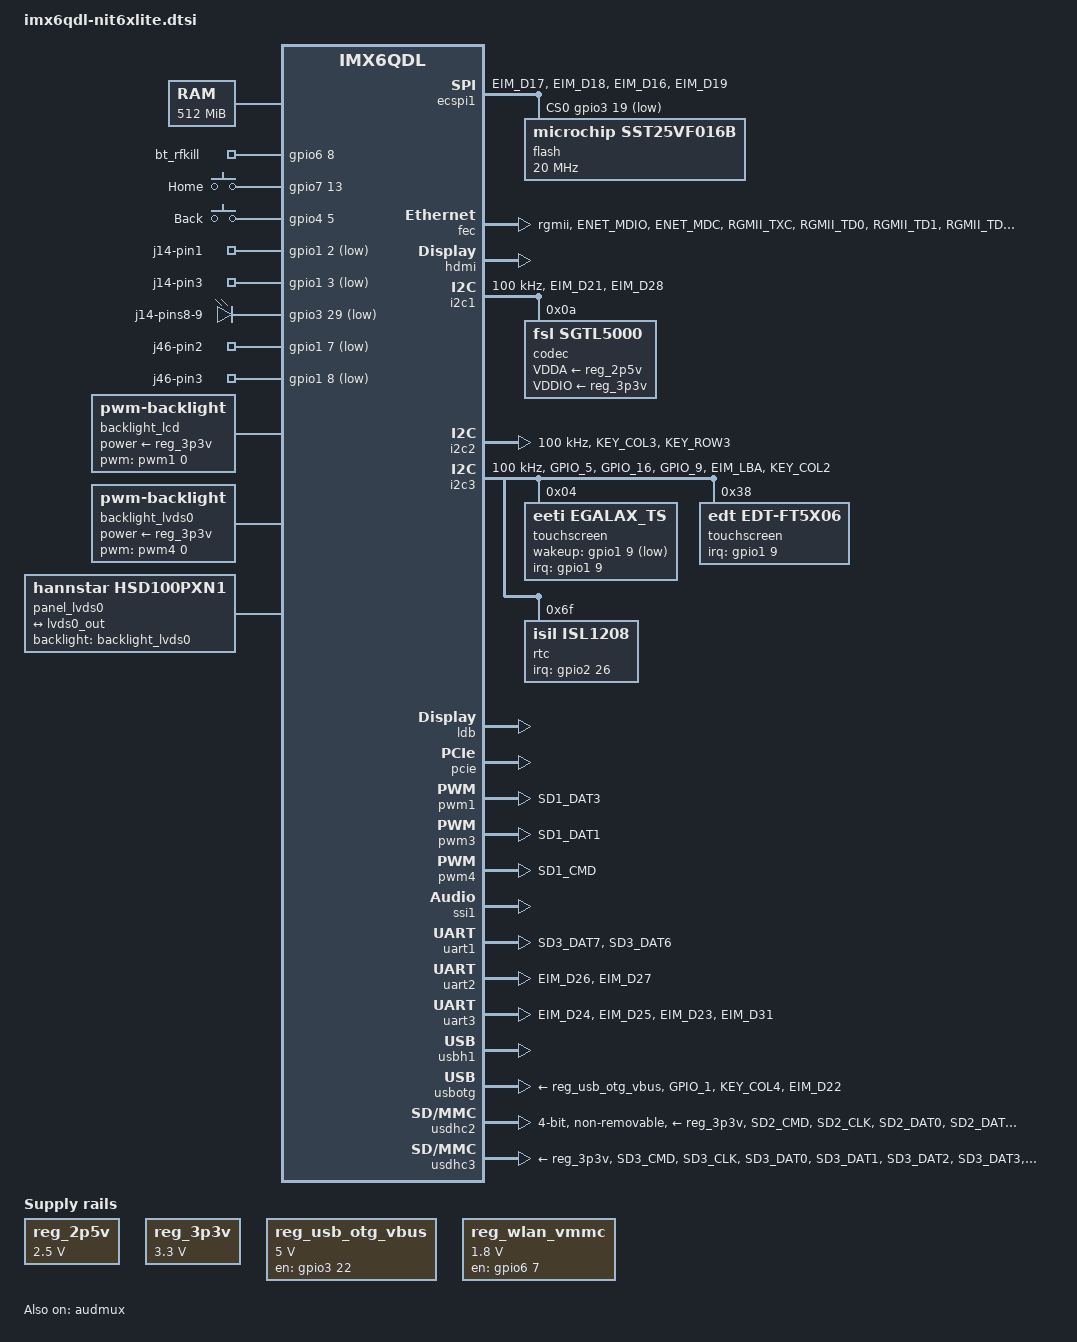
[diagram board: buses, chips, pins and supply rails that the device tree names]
/*
 * Copyright 2015 Boundary Devices, Inc.
 *
 * This file is dual-licensed: you can use it either under the terms
 * of the GPL or the X11 license, at your option. Note that this dual
 * licensing only applies to this file, and not this project as a
 * whole.
 *
 *  a) This file is free software; you can redistribute it and/or
 *     modify it under the terms of the GNU General Public License
 *     version 2 as published by the Free Software Foundation.
 *
 *     This file is distributed in the hope that it will be useful
 *     but WITHOUT ANY WARRANTY; without even the implied warranty of
 *     MERCHANTABILITY or FITNESS FOR A PARTICULAR PURPOSE.  See the
 *     GNU General Public License for more details.
 *
 * Or, alternatively
 *
 *  b) Permission is hereby granted, free of charge, to any person
 *     obtaining a copy of this software and associated documentation
 *     files (the "Software"), to deal in the Software without
 *     restriction, including without limitation the rights to use
 *     copy, modify, merge, publish, distribute, sublicense, and/or
 *     sell copies of the Software, and to permit persons to whom the
 *     Software is furnished to do so, subject to the following
 *     conditions:
 *
 *     The above copyright notice and this permission notice shall be
 *     included in all copies or substantial portions of the Software.
 *
 *     THE SOFTWARE IS PROVIDED , WITHOUT WARRANTY OF ANY KIND
 *     EXPRESS OR IMPLIED, INCLUDING BUT NOT LIMITED TO THE WARRANTIES
 *     OF MERCHANTABILITY, FITNESS FOR A PARTICULAR PURPOSE AND
 *     NONINFRINGEMENT. IN NO EVENT SHALL THE AUTHORS OR COPYRIGHT
 *     HOLDERS BE LIABLE FOR ANY CLAIM, DAMAGES OR OTHER LIABILITY
 *     WHETHER IN AN ACTION OF CONTRACT, TORT OR OTHERWISE, ARISING
 *     FROM, OUT OF OR IN CONNECTION WITH THE SOFTWARE OR THE USE OR
 *     OTHER DEALINGS IN THE SOFTWARE.
 */
#include <dt-bindings/gpio/gpio.h>
#include <dt-bindings/input/input.h>

/ {
	chosen {
		stdout-path = &uart2;
	};

	memory {
		reg = <0x10000000 0x20000000>;
	};

	regulators {
		compatible = "simple-bus";
		#address-cells = <1>;
		#size-cells = <0>;

		reg_2p5v: regulator@0 {
			compatible = "regulator-fixed";
			reg = <0>;
			regulator-name = "2P5V";
			regulator-min-microvolt = <2500000>;
			regulator-max-microvolt = <2500000>;
			regulator-always-on;
		};

		reg_3p3v: regulator@1 {
			compatible = "regulator-fixed";
			reg = <1>;
			regulator-name = "3P3V";
			regulator-min-microvolt = <3300000>;
			regulator-max-microvolt = <3300000>;
			regulator-always-on;
		};

		reg_usb_otg_vbus: regulator@2 {
			compatible = "regulator-fixed";
			reg = <2>;
			regulator-name = "usb_otg_vbus";
			regulator-min-microvolt = <5000000>;
			regulator-max-microvolt = <5000000>;
			gpio = <&gpio3 22 GPIO_ACTIVE_HIGH>;
			enable-active-high;
		};

		reg_wlan_vmmc: regulator@3 {
			compatible = "regulator-fixed";
			reg = <3>;
			pinctrl-names = "default";
			pinctrl-0 = <&pinctrl_wlan_vmmc>;
			regulator-name = "reg_wlan_vmmc";
			regulator-min-microvolt = <1800000>;
			regulator-max-microvolt = <1800000>;
			gpio = <&gpio6 7 GPIO_ACTIVE_HIGH>;
			startup-delay-us = <70000>;
			enable-active-high;
		};
	};

	bt_rfkill {
		compatible = "rfkill-gpio";
		pinctrl-names = "default";
		pinctrl-0 = <&pinctrl_bt_rfkill>;
		gpios = <&gpio6 8 GPIO_ACTIVE_HIGH>;
		name = "bt_rfkill";
		type = <2>;
	};

	gpio-keys {
		compatible = "gpio-keys";
		pinctrl-names = "default";
		pinctrl-0 = <&pinctrl_gpio_keys>;

		home {
			label = "Home";
			gpios = <&gpio7 13 IRQ_TYPE_LEVEL_LOW>;
			linux,code = <102>;
		};

		back {
			label = "Back";
			gpios = <&gpio4 5 IRQ_TYPE_LEVEL_LOW>;
			linux,code = <158>;
		};
	};

	leds {
		compatible = "gpio-leds";
		pinctrl-names = "default";
		pinctrl-0 = <&pinctrl_leds>;

		j14-pin1 {
			gpios = <&gpio1 2 GPIO_ACTIVE_LOW>;
			retain-state-suspended;
			default-state = "off";
		};

		j14-pin3 {
			gpios = <&gpio1 3 GPIO_ACTIVE_LOW>;
			retain-state-suspended;
			default-state = "off";
		};

		j14-pins8-9 {
			gpios = <&gpio3 29 GPIO_ACTIVE_LOW>;
			retain-state-suspended;
			default-state = "off";
		};

		j46-pin2 {
			gpios = <&gpio1 7 GPIO_ACTIVE_LOW>;
			retain-state-suspended;
			default-state = "off";
		};

		j46-pin3 {
			gpios = <&gpio1 8 GPIO_ACTIVE_LOW>;
			retain-state-suspended;
			default-state = "off";
		};
	};

	backlight_lcd {
		compatible = "pwm-backlight";
		pwms = <&pwm1 0 5000000>;
		brightness-levels = <0 4 8 16 32 64 128 255>;
		default-brightness-level = <7>;
		power-supply = <&reg_3p3v>;
		status = "okay";
	};

	backlight_lvds0: backlight_lvds0 {
		compatible = "pwm-backlight";
		pwms = <&pwm4 0 5000000>;
		brightness-levels = <0 4 8 16 32 64 128 255>;
		default-brightness-level = <7>;
		power-supply = <&reg_3p3v>;
		status = "okay";
	};

	panel_lvds0 {
		compatible = "hannstar,hsd100pxn1";
		backlight = <&backlight_lvds0>;

		port {
			panel_in_lvds0: endpoint {
				remote-endpoint = <&lvds0_out>;
			};
		};
	};

	sound {
		compatible = "fsl,imx6dl-nit6xlite-sgtl5000",
			     "fsl,imx-audio-sgtl5000";
		model = "imx6dl-nit6xlite-sgtl5000";
		ssi-controller = <&ssi1>;
		audio-codec = <&codec>;
		audio-routing =
			"MIC_IN", "Mic Jack",
			"Mic Jack", "Mic Bias",
			"Headphone Jack", "HP_OUT";
		mux-int-port = <1>;
		mux-ext-port = <3>;
	};
};

&audmux {
	pinctrl-names = "default";
	pinctrl-0 = <&pinctrl_audmux>;
	status = "okay";
};

&clks {
	assigned-clocks = <&clks IMX6QDL_CLK_LDB_DI0_SEL>,
			  <&clks IMX6QDL_CLK_LDB_DI1_SEL>;
	assigned-clock-parents = <&clks IMX6QDL_CLK_PLL3_USB_OTG>,
				 <&clks IMX6QDL_CLK_PLL3_USB_OTG>;
};

&ecspi1 {
	fsl,spi-num-chipselects = <1>;
	cs-gpios = <&gpio3 19 GPIO_ACTIVE_LOW>;
	pinctrl-names = "default";
	pinctrl-0 = <&pinctrl_ecspi1>;
	status = "okay";

	flash: m25p80@0 {
		compatible = "microchip,sst25vf016b";
		spi-max-frequency = <20000000>;
		reg = <0>;
	};
};

&fec {
	pinctrl-names = "default";
	pinctrl-0 = <&pinctrl_enet>;
	phy-mode = "rgmii";
	phy-reset-gpios = <&gpio1 27 GPIO_ACTIVE_LOW>;
	txen-skew-ps = <0>;
	txc-skew-ps = <3000>;
	rxdv-skew-ps = <0>;
	rxc-skew-ps = <3000>;
	rxd0-skew-ps = <0>;
	rxd1-skew-ps = <0>;
	rxd2-skew-ps = <0>;
	rxd3-skew-ps = <0>;
	txd0-skew-ps = <0>;
	txd1-skew-ps = <0>;
	txd2-skew-ps = <0>;
	txd3-skew-ps = <0>;
	interrupts-extended = <&gpio1 6 IRQ_TYPE_LEVEL_HIGH>,
			      <&intc 0 119 IRQ_TYPE_LEVEL_HIGH>;
	fsl,err006687-workaround-present;
	status = "okay";
};

&hdmi {
	ddc-i2c-bus = <&i2c2>;
	status = "okay";
};

&i2c1 {
	clock-frequency = <100000>;
	pinctrl-names = "default";
	pinctrl-0 = <&pinctrl_i2c1>;
	status = "okay";

	codec: sgtl5000@0a {
		compatible = "fsl,sgtl5000";
		pinctrl-names = "default";
		pinctrl-0 = <&pinctrl_sgtl5000>;
		reg = <0x0a>;
		clocks = <&clks IMX6QDL_CLK_CKO>;
		VDDA-supply = <&reg_2p5v>;
		VDDIO-supply = <&reg_3p3v>;
	};
};

&i2c2 {
	clock-frequency = <100000>;
	pinctrl-names = "default";
	pinctrl-0 = <&pinctrl_i2c2>;
	status = "okay";
};

&i2c3 {
	clock-frequency = <100000>;
	pinctrl-names = "default";
	pinctrl-0 = <&pinctrl_i2c3>;
	status = "okay";

	touchscreen@04 {
		compatible = "eeti,egalax_ts";
		reg = <0x04>;
		interrupt-parent = <&gpio1>;
		interrupts = <9 IRQ_TYPE_EDGE_FALLING>;
		wakeup-gpios = <&gpio1 9 GPIO_ACTIVE_LOW>;
	};

	touchscreen@38 {
		compatible = "edt,edt-ft5x06";
		reg = <0x38>;
		interrupt-parent = <&gpio1>;
		interrupts = <9 IRQ_TYPE_EDGE_FALLING>;
	};

	rtc@6f {
		compatible = "isil,isl1208";
		pinctrl-names = "default";
		pinctrl-0 = <&pinctrl_rtc>;
		reg = <0x6f>;
		interrupts-extended = <&gpio2 26 IRQ_TYPE_LEVEL_LOW>;
	};
};

&iomuxc {
	pinctrl-names = "default";
	pinctrl-0 = <&pinctrl_j10>;
	pinctrl-1 = <&pinctrl_j28>;

	imx6dl-nit6xlite {
		pinctrl_audmux: audmuxgrp {
			fsl,pins = <
				MX6QDL_PAD_CSI0_DAT7__AUD3_RXD		0x130b0
				MX6QDL_PAD_CSI0_DAT4__AUD3_TXC		0x130b0
				MX6QDL_PAD_CSI0_DAT5__AUD3_TXD		0x110b0
				MX6QDL_PAD_CSI0_DAT6__AUD3_TXFS		0x130b0
			>;
		};

		pinctrl_bt_rfkill: bt_rfkillgrp {
			fsl,pins = <
				/* BT wake */
				MX6QDL_PAD_NANDF_D2__GPIO2_IO02		0x1b0b0
				/* BT reset */
				MX6QDL_PAD_NANDF_ALE__GPIO6_IO08	0x0b0b0
				/* BT reg en */
				MX6QDL_PAD_NANDF_CS2__GPIO6_IO15	0x1b0b0
				/* BT host wake irq */
				MX6QDL_PAD_NANDF_CS3__GPIO6_IO16	0x100b0
			>;
		};

		pinctrl_ecspi1: ecspi1grp {
			fsl,pins = <
				MX6QDL_PAD_EIM_D17__ECSPI1_MISO		0x100b1
				MX6QDL_PAD_EIM_D18__ECSPI1_MOSI		0x100b1
				MX6QDL_PAD_EIM_D16__ECSPI1_SCLK		0x100b1
				MX6QDL_PAD_EIM_D19__GPIO3_IO19		0x000b1
			>;
		};

		pinctrl_enet: enetgrp {
			fsl,pins = <
				MX6QDL_PAD_ENET_MDIO__ENET_MDIO		0x100b0
				MX6QDL_PAD_ENET_MDC__ENET_MDC		0x100b0
				MX6QDL_PAD_RGMII_TXC__RGMII_TXC		0x100b0
				MX6QDL_PAD_RGMII_TD0__RGMII_TD0		0x100b0
				MX6QDL_PAD_RGMII_TD1__RGMII_TD1		0x100b0
				MX6QDL_PAD_RGMII_TD2__RGMII_TD2		0x100b0
				MX6QDL_PAD_RGMII_TD3__RGMII_TD3		0x100b0
				MX6QDL_PAD_RGMII_TX_CTL__RGMII_TX_CTL	0x100b0
				MX6QDL_PAD_ENET_REF_CLK__ENET_TX_CLK	0x100b0
				MX6QDL_PAD_RGMII_RXC__RGMII_RXC		0x1b0b0
				MX6QDL_PAD_RGMII_RD0__RGMII_RD0		0x1b0b0
				MX6QDL_PAD_RGMII_RD1__RGMII_RD1		0x1b0b0
				MX6QDL_PAD_RGMII_RD2__RGMII_RD2		0x1b0b0
				MX6QDL_PAD_RGMII_RD3__RGMII_RD3		0x1b0b0
				MX6QDL_PAD_RGMII_RX_CTL__RGMII_RX_CTL	0x1b0b0
				/* Phy reset */
				MX6QDL_PAD_ENET_RXD0__GPIO1_IO27	0x0f0b0
				MX6QDL_PAD_ENET_TX_EN__GPIO1_IO28	0x1b0b0
				MX6QDL_PAD_GPIO_6__ENET_IRQ		0x000b1
			>;
		};

		pinctrl_gpio_keys: gpio_keysgrp {
			fsl,pins = <
				/* Home Button: J14 pin 5 */
				MX6QDL_PAD_GPIO_18__GPIO7_IO13		0x1b0b0
				/* Back Button: J14 pin 7 */
				MX6QDL_PAD_GPIO_19__GPIO4_IO05		0x1b0b0
			>;
		};

		pinctrl_i2c1: i2c1grp {
			fsl,pins = <
				MX6QDL_PAD_EIM_D21__I2C1_SCL	0x4001b8b1
				MX6QDL_PAD_EIM_D28__I2C1_SDA	0x4001b8b1
			>;
		};

		pinctrl_i2c2: i2c2grp {
			fsl,pins = <
				MX6QDL_PAD_KEY_COL3__I2C2_SCL	0x4001b8b1
				MX6QDL_PAD_KEY_ROW3__I2C2_SDA	0x4001b8b1
			>;
		};

		pinctrl_i2c3: i2c3grp {
			fsl,pins = <
				MX6QDL_PAD_GPIO_5__I2C3_SCL	0x4001b8b1
				MX6QDL_PAD_GPIO_16__I2C3_SDA	0x4001b8b1
				/* Touch IRQ: J7 pin 4 */
				MX6QDL_PAD_GPIO_9__GPIO1_IO09	0x1b0b0
				/* tcs2004 IRQ */
				MX6QDL_PAD_EIM_LBA__GPIO2_IO27	0x1b0b0
				/* tsc2004 reset */
				MX6QDL_PAD_KEY_COL2__GPIO4_IO10	0x0b0b0
			>;
		};

		pinctrl_j10: j10grp {
			fsl,pins = <
				/* Broadcom WiFi module pins */
				MX6QDL_PAD_NANDF_D0__GPIO2_IO00		0x1b0b0
				MX6QDL_PAD_NANDF_D1__GPIO2_IO01		0x1b0b0
				MX6QDL_PAD_NANDF_D3__GPIO2_IO03		0x1b0b0
				MX6QDL_PAD_NANDF_D4__GPIO2_IO04		0x1b0b0
				MX6QDL_PAD_NANDF_WP_B__GPIO6_IO09	0x0b0b0
				MX6QDL_PAD_NANDF_CS1__GPIO6_IO14	0x1b0b0
				MX6QDL_PAD_SD1_CLK__OSC32K_32K_OUT	0x000b0
			>;
		};

		pinctrl_j28: j28grp {
			fsl,pins = <
				MX6QDL_PAD_GPIO_4__GPIO1_IO04		0x1b0b0
			>;
		};

		pinctrl_leds: ledsgrp {
			fsl,pins = <
				MX6QDL_PAD_GPIO_2__GPIO1_IO02		0x0b0b0
				MX6QDL_PAD_GPIO_3__GPIO1_IO03		0x0b0b0
				MX6QDL_PAD_EIM_D29__GPIO3_IO29		0x030b0
				MX6QDL_PAD_GPIO_7__GPIO1_IO07		0x0b0b0
				MX6QDL_PAD_GPIO_8__GPIO1_IO08		0x0b0b0
			>;
		};

		pinctrl_pwm1: pwm1grp {
			fsl,pins = <
				MX6QDL_PAD_SD1_DAT3__PWM1_OUT		0x1b0b1
			>;
		};

		pinctrl_pwm3: pwm3grp {
			fsl,pins = <
				MX6QDL_PAD_SD1_DAT1__PWM3_OUT		0x1b0b1
			>;
		};

		pinctrl_pwm4: pwm4grp {
			fsl,pins = <
				MX6QDL_PAD_SD1_CMD__PWM4_OUT		0x1b0b1
			>;
		};

		pinctrl_wlan_vmmc: wlan_vmmcgrp {
			fsl,pins = <
				MX6QDL_PAD_NANDF_CLE__GPIO6_IO07	0x030b0
			>;
		};

		pinctrl_rtc: rtcgrp {
			fsl,pins = <
				MX6QDL_PAD_EIM_RW__GPIO2_IO26		0x1b0b0
			>;
		};

		pinctrl_sgtl5000: sgtl5000grp {
			fsl,pins = <
				MX6QDL_PAD_GPIO_0__CCM_CLKO1		0x000b0
				MX6QDL_PAD_EIM_A25__GPIO5_IO02		0x1b0b0
			>;
		};

		pinctrl_uart1: uart1grp {
			fsl,pins = <
				MX6QDL_PAD_SD3_DAT7__UART1_TX_DATA	0x1b0b1
				MX6QDL_PAD_SD3_DAT6__UART1_RX_DATA	0x1b0b1
			>;
		};

		pinctrl_uart2: uart2grp {
			fsl,pins = <
				MX6QDL_PAD_EIM_D26__UART2_TX_DATA	0x1b0b1
				MX6QDL_PAD_EIM_D27__UART2_RX_DATA	0x1b0b1
			>;
		};

		pinctrl_uart3: uart3grp {
			fsl,pins = <
				MX6QDL_PAD_EIM_D24__UART3_TX_DATA	0x1b0b1
				MX6QDL_PAD_EIM_D25__UART3_RX_DATA	0x1b0b1
				MX6QDL_PAD_EIM_D23__UART3_CTS_B		0x1b0b1
				MX6QDL_PAD_EIM_D31__UART3_RTS_B		0x1b0b1
			>;
		};

		pinctrl_usbotg: usbotggrp {
			fsl,pins = <
				MX6QDL_PAD_GPIO_1__USB_OTG_ID		0x17059
				MX6QDL_PAD_KEY_COL4__USB_OTG_OC		0x1b0b0
				/* power enable, high active */
				MX6QDL_PAD_EIM_D22__GPIO3_IO22		0x000b0
			>;
		};

		pinctrl_usdhc2: usdhc2grp {
			fsl,pins = <
				MX6QDL_PAD_SD2_CMD__SD2_CMD		0x17059
				MX6QDL_PAD_SD2_CLK__SD2_CLK		0x10059
				MX6QDL_PAD_SD2_DAT0__SD2_DATA0		0x17059
				MX6QDL_PAD_SD2_DAT1__SD2_DATA1		0x17059
				MX6QDL_PAD_SD2_DAT2__SD2_DATA2		0x17059
				MX6QDL_PAD_SD2_DAT3__SD2_DATA3		0x17059
			>;
		};

		pinctrl_usdhc3: usdhc3grp {
			fsl,pins = <
				MX6QDL_PAD_SD3_CMD__SD3_CMD		0x17059
				MX6QDL_PAD_SD3_CLK__SD3_CLK		0x10059
				MX6QDL_PAD_SD3_DAT0__SD3_DATA0		0x17059
				MX6QDL_PAD_SD3_DAT1__SD3_DATA1		0x17059
				MX6QDL_PAD_SD3_DAT2__SD3_DATA2		0x17059
				MX6QDL_PAD_SD3_DAT3__SD3_DATA3		0x17059
				MX6QDL_PAD_SD3_DAT5__GPIO7_IO00		0x1b0b0
			>;
		};
	};
};

&ldb {
	status = "okay";

	lvds-channel@0 {
		fsl,data-mapping = "spwg";
		fsl,data-width = <18>;
		status = "okay";

		port@4 {
			reg = <4>;

			lvds0_out: endpoint {
				remote-endpoint = <&panel_in_lvds0>;
			};
		};
	};
};

&pcie {
	status = "okay";
};

&pwm1 {
	pinctrl-names = "default";
	pinctrl-0 = <&pinctrl_pwm1>;
	status = "okay";
};

&pwm3 {
	pinctrl-names = "default";
	pinctrl-0 = <&pinctrl_pwm3>;
	status = "okay";
};

&pwm4 {
	pinctrl-names = "default";
	pinctrl-0 = <&pinctrl_pwm4>;
	status = "okay";
};

&ssi1 {
	status = "okay";
};

&uart1 {
	pinctrl-names = "default";
	pinctrl-0 = <&pinctrl_uart1>;
	status = "okay";
};

&uart2 {
	pinctrl-names = "default";
	pinctrl-0 = <&pinctrl_uart2>;
	status = "okay";
};

&uart3 {
	pinctrl-names = "default";
	pinctrl-0 = <&pinctrl_uart3>;
	uart-has-rtscts;
	status = "okay";
};

&usbh1 {
	status = "okay";
};

&usbotg {
	vbus-supply = <&reg_usb_otg_vbus>;
	pinctrl-names = "default";
	pinctrl-0 = <&pinctrl_usbotg>;
	disable-over-current;
	status = "okay";
};

&usdhc2 {
	pinctrl-names = "default";
	pinctrl-0 = <&pinctrl_usdhc2>;
	bus-width = <4>;
	non-removable;
	vmmc-supply = <&reg_3p3v>;
	vqmmc-supply = <&reg_wlan_vmmc>;
	vqmmc-1-8-v;
	ocr-limit = <0x180>;     /* 1.65v - 2.1v */
	cap-power-off-card;
	keep-power-in-suspend;
	status = "okay";
};

&usdhc3 {
	pinctrl-names = "default";
	pinctrl-0 = <&pinctrl_usdhc3>;
	cd-gpios = <&gpio7 0 GPIO_ACTIVE_LOW>;
	vmmc-supply = <&reg_3p3v>;
	status = "okay";
};
